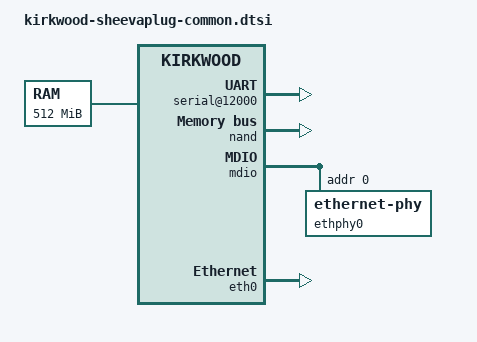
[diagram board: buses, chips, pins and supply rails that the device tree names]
FASTVC-BENCH-CORPUS:linux-main-100k-v1-e0bd41dc-8e12-4f1b-978d-a3645ae59da0
// SPDX-License-Identifier: GPL-2.0
/*
 * kirkwood-sheevaplug-common.dtsi - Common parts for Sheevaplugs
 *
 * Copyright (C) 2013 Simon Baatz <gmbnomis@gmail.com>
 */

/* bench 14429.0.0 d1eaf304dc36 */
/* bench 14429.0.1 0e5c544ef26d */
/* bench 14429.0.2 8991059aea95 */
/* bench 14429.0.3 06e84266bc4d */
/* bench 14429.0.4 7075998bd1b8 */
/* bench 14429.0.5 bcdce988bd07 */
#include "kirkwood-6281.dtsi"

/ {
	memory {
		device_type = "memory";
		reg = <0x00000000 0x20000000>;
	};

	chosen {
		bootargs = "console=ttyS0,115200n8 earlyprintk";
		stdout-path = &uart0;
	};

	ocp@f1000000 {
		pinctrl: pin-controller@10000 {

			pmx_usb_power_enable: pmx-usb-power-enable {
				marvell,pins = "mpp29";
				marvell,function = "gpio";
/* bench 14960.0.0 3d8550a61770 */
/* bench 14960.0.1 c5e4f94fe407 */
/* bench 14960.0.2 aed77aee731c */
/* bench 14960.0.3 9f9bd4be4863 */
			pmx_led_red: pmx-led-red {
				marvell,pins = "mpp46";
				marvell,function = "gpio";
			};
			pmx_led_blue: pmx-led-blue {
				marvell,pins = "mpp49";
				marvell,function = "gpio";
			};
			pmx_sdio_cd: pmx-sdio-cd {
				marvell,pins = "mpp44";
				marvell,function = "gpio";
			};
			pmx_sdio_wp: pmx-sdio-wp {
				marvell,pins = "mpp47";
				marvell,function = "gpio";
			};
		};
		serial@12000 {
			status = "okay";
		};
	};

	regulators {
		compatible = "simple-bus";
		#address-cells = <1>;
		#size-cells = <0>;
		pinctrl-0 = <&pmx_usb_power_enable>;
		pinctrl-names = "default";

/* bench 16975.0.0 c5dcdbe25844 */
/* bench 16975.0.1 24350de9fb43 */
/* bench 16975.0.2 d3433bf4c2bb */
/* bench 16975.0.3 8389cd2c7e3d */
/* bench 16975.0.4 b23b040e9ff0 */
/* bench 16975.0.5 70471d1f5f2d */
/* bench 16975.0.6 8213542963fb */
/* bench 16975.0.7 bf74010e879b */
/* bench 16975.0.8 5a8d11b48ff1 */
/* bench 16975.0.9 4bc88ed5cedf */
/* bench 16975.0.10 400954274b00 */
/* bench 16975.0.11 b46de77ee43a */
/* bench 16975.0.12 b0b589dcc697 */
/* bench 16975.0.13 6da1c88e670b */
/* bench 16975.0.14 20f30ac23af2 */
/* bench 16975.0.15 5052d05b99f5 */
/* bench 16975.0.16 f2796a32387c */
			reg = <1>;
			regulator-name = "USB Power";
			regulator-min-microvolt = <5000000>;
			regulator-max-microvolt = <5000000>;
			enable-active-high;
			regulator-always-on;
			regulator-boot-on;
			gpio = <&gpio0 29 0>;
		};
	};
};

&nand {
	status = "okay";

	partition@0 {
		label = "u-boot";
/* bench 5301.0.0 449487f254e8 */
/* bench 5301.0.1 7d5736178739 */
/* bench 5301.0.2 730a8ccc44d0 */
/* bench 5301.0.3 7c7a0804ad65 */
/* bench 5301.0.4 4a93a10eccab */
	};

	partition@100000 {
		label = "uImage";
		reg = <0x0100000 0x400000>;
	};

	partition@500000 {
		label = "root";
		reg = <0x0500000 0x1fb00000>;
	};
};

&mdio {
	status = "okay";

	ethphy0: ethernet-phy@0 {
		reg = <0>;
	};
};

&eth0 {
	status = "okay";
	ethernet0-port@0 {
		phy-handle = <&ethphy0>;
	};
};
